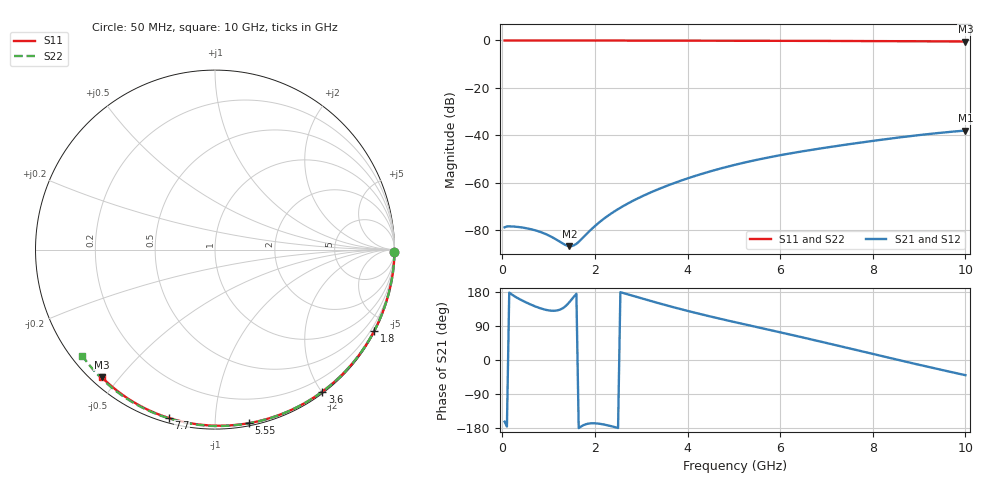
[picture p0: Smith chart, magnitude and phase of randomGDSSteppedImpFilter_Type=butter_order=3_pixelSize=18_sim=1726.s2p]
! freq	dB(S11)	phase(S11)	dB(S12)	phase(S12)
!  dB(S21)	phase(S21)	dB(S22)	phase(S22)
!S-par simulation data
#  GHz  S  DB  R 50
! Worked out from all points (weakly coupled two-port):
!   200 points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, 50 MHz to 10 GHz, reference 50 ohm
!   highest |S21| = -37.99 dB at 10 GHz (marker M1); lowest = -86.8 dB at 1.45 GHz (marker M2)
!   lowest |S11| = -0.4 dB at 10 GHz (marker M3), VSWR 38.94, Z = 1.54 - j22.4 ohm
!   |S11| at or under -10 dB: nowhere
!   |S22| runs from -0.5 to 0.0 dB; largest |S21 - S12| = 0
!   S11 on the Smith chart (normalised r, x): 50 MHz: open; 1.8 GHz: 0.04, -4.16; 3.6 GHz: 0.02, -2.01; 5.55 GHz: 0.02, -1.21; 7.7 GHz: 0.02, -0.76; 10 GHz: 0.03, -0.45
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0.05  -0.00 -0.8  -78.82 -162.8  -78.82 -162.8  -0.00 -0.8
0.1  -0.00 -1.5  -78.44 -175.6  -78.44 -175.6  -0.00 -1.6
0.3  -0.00 -4.6  -78.57 165.5  -78.57 165.5  -0.00 -4.9
0.7  -0.01 -10.6  -80.01 141.9  -80.01 141.9  -0.01 -11.4
1.45  -0.03 -21.9  -86.76 152.8  -86.76 152.8  -0.03 -23.4
1.75  -0.03 -26.3  -83.02 -172.1  -83.02 -172.1  -0.04 -28.2
1.8  -0.03 -27.0  -82.02 -169.7  -82.02 -169.7  -0.04 -29.0
1.9  -0.04 -28.5  -80.09 -167.2  -80.09 -167.2  -0.04 -30.6
2.25  -0.04 -33.6  -74.36 -171.7  -74.36 -171.7  -0.05 -36.0
2.65  -0.05 -39.4  -69.41 175.4  -69.41 175.4  -0.05 -42.2
3  -0.06 -44.4  -65.91 163.0  -65.91 163.0  -0.06 -47.6
3.4  -0.07 -50.1  -62.48 149.1  -62.48 149.1  -0.07 -53.6
3.6  -0.07 -52.9  -60.95 142.4  -60.95 142.4  -0.08 -56.6
4.3  -0.09 -62.5  -56.31 120.5  -56.31 120.5  -0.09 -66.8
5.05  -0.11 -72.4  -52.32 99.1  -52.32 99.1  -0.12 -77.5
5.55  -0.13 -78.9  -50.12 85.4  -50.12 85.4  -0.14 -84.4
6.15  -0.15 -86.5  -47.87 69.0  -47.87 69.0  -0.16 -92.5
6.7  -0.18 -93.3  -46.07 53.6  -46.07 53.6  -0.19 -99.7
7.7  -0.24 -105.3  -43.17 24.6  -43.17 24.6  -0.26 -112.5
8.35  -0.29 -112.9  -41.46 5.8  -41.46 5.8  -0.31 -120.7
9.2  -0.36 -122.7  -39.48 -18.2  -39.48 -18.2  -0.39 -131.3
10  -0.45 -131.7  -37.99 -40.1  -37.99 -40.1  -0.48 -141.3
